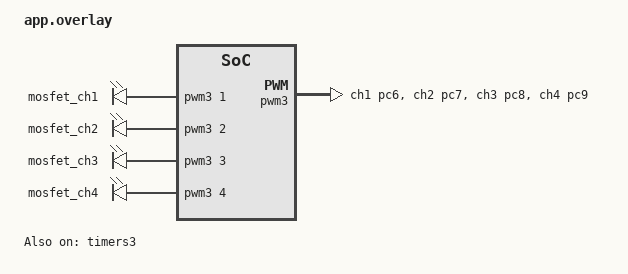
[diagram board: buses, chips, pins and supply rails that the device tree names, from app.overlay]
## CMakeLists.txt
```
cmake_minimum_required(VERSION 3.20.0)
set(CMAKE_EXPORT_COMPILE_COMMANDS ON)
find_package(Zephyr REQUIRED HINTS $ENV{ZEPHYR_BASE})
project(headlight_control)

target_sources(app PRIVATE 
    src/main.cpp
    src/MosfetController.cpp
    src/AppTasks.cpp
    )
```

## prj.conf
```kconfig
# Donanım Sürücüleri
CONFIG_GPIO=y
CONFIG_PWM=y

# Konsol ve Loglama
CONFIG_SERIAL=y
CONFIG_UART_CONSOLE=y
CONFIG_CONSOLE=y
CONFIG_PRINTK=y
CONFIG_LOG=y

# C++ Desteği
CONFIG_CPP=y
CONFIG_STD_CPP17=y

# Bellek Yönetimi
CONFIG_MAIN_STACK_SIZE=2048
```

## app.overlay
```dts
#include <zephyr/dt-bindings/pwm/pwm.h>

/ {
    pwm_mosfets {
        compatible = "pwm-leds";
        mosfet_ch1: mosfet_ch_1 {
            pwms = <&pwm3 1 PWM_USEC(500) PWM_POLARITY_NORMAL>;
        };
        mosfet_ch2: mosfet_ch_2 {
            pwms = <&pwm3 2 PWM_USEC(500) PWM_POLARITY_NORMAL>;
        };
        mosfet_ch3: mosfet_ch_3 {
            pwms = <&pwm3 3 PWM_USEC(500) PWM_POLARITY_NORMAL>;
        };
        mosfet_ch4: mosfet_ch_4 {
            pwms = <&pwm3 4 PWM_USEC(500) PWM_POLARITY_NORMAL>;
        };
    };
};

/* 1. TIM3 Ana Zamanlayıcıyı Etkinleştir */
&timers3 {
    status = "okay";
};

/* 2. TIM3 PWM Alt Birimini ve Pin Çıkışlarını Etkinleştir */
&pwm3 {
    status = "okay";
    pinctrl-0 = <&tim3_ch1_pc6 &tim3_ch2_pc7 &tim3_ch3_pc8 &tim3_ch4_pc9>;
    pinctrl-names = "default";
};
```

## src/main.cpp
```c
#include <zephyr/kernel.h>
#include <zephyr/sys/printk.h>

#include "hpps/AppTasks.hpp"
#include "hpps/MosfetController.hpp"

static MosfetController mosfets;
static SelfTestTask     testTask(mosfets);
static MosfetWorkerTask workerTask(mosfets);
static SafetyTask       safetyTask(mosfets);

int main(void)
{
    printk("\n==========================================\n");
    printk("   STM32H563ZI RTOS Mosfet Supervisor     \n");
    printk("==========================================\n");

    // 1. ADIM: Donanımı hazırla
    if (mosfets.init() < 0 || safetyTask.init() < 0) {
        printk("Donanim ilklendirme basarisiz!\n");
        return -1;
    }

    // 2. ADIM (1. Sıra): Test thread'ini başlat ve BİTMESİNİ BEKLE
    printk("[MAIN] 1. Asama: Donanim testi baslatiliyor...\n");
    testTask.start();
    testTask.wait(); // k_thread_join: Test tamamlanana kadar kod burada durur

    // 3. ADIM (2. Sıra): Test bitti; Emniyet ve Ana Çalışma Thread'lerini başlat
    printk("[MAIN] 2. Asama: Normal operasyon thread'leri devreye aliniyor...\n");
    safetyTask.start();
    workerTask.start();

    printk("[MAIN] Tum thread'ler sirayla calistirildi. Main gorevini tamamladi.\n");

    // Main thread'in işi bitti; kendini sonsuz uykuya alabilir veya durum raporlayabilir
    while (1) {
        k_sleep(K_FOREVER);
    }

    return 0;
}
```

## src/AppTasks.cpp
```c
#include "hpps/AppTasks.hpp"
#include <zephyr/drivers/gpio.h>
#include <zephyr/sys/printk.h>

#define STACK_SIZE 1024
#define PRIORITY_NORMAL 7
#define PRIORITY_HIGH 5

K_THREAD_STACK_DEFINE(test_stack, STACK_SIZE);
K_THREAD_STACK_DEFINE(worker_stack, STACK_SIZE);
K_THREAD_STACK_DEFINE(safety_stack, STACK_SIZE);

//----------------------------------------------------
// SELF_TEST_TASK
//----------------------------------------------------

SelfTestTask::SelfTestTask(MosfetController &ctrl)
    : mosfets(ctrl), tid(nullptr) {}

void SelfTestTask::threadEntry(void *p1, void *p2, void *p3) {
  auto *self = static_cast<SelfTestTask *>(p1);
  self->run();
}

int SelfTestTask::start() {
  tid = k_thread_create(&thread_data, test_stack,
                        K_THREAD_STACK_SIZEOF(test_stack), threadEntry, this,
                        nullptr, nullptr, PRIORITY_NORMAL, 0, K_NO_WAIT);
  return (tid != nullptr) ? 0 : -EFAULT;
}

void SelfTestTask::wait() {
  if (tid) {
    k_thread_join(tid, K_FOREVER);
  }
}

void SelfTestTask::run() {
  printk("[SelfTestTask] Calisiyor: 4 Kanal Sirayla Test Ediliyor...\n");

  MosfetChannel channels[] = {MosfetChannel::CH1, MosfetChannel::CH2,
                              MosfetChannel::CH3, MosfetChannel::CH4};

  for (int i = 0; i < 4; ++i) {
    printk(" -> Test ediliyor: Kanal %d\n", i + 1);
    mosfets.setDuty(channels[i], 100);
    k_msleep(1000);
    mosfets.setDuty(channels[i], 0);
    k_msleep(1000);
  }

  printk("[SelfTestTask] Test basariyla tamamlandi. Thread kapaniyor.\n");
}

//----------------------------------------------------
// MOSFET_WORKER_TASK
//----------------------------------------------------

MosfetWorkerTask::MosfetWorkerTask(MosfetController &ctrl)
    : mosfets(ctrl), tid(nullptr), is_running(true) {}

void MosfetWorkerTask::threadEntry(void *p1, void *p2, void *p3) {
  auto *self = static_cast<MosfetWorkerTask *>(p1);
  self->run();
}

int MosfetWorkerTask::start() {
  tid = k_thread_create(&thread_data, worker_stack,
                        K_THREAD_STACK_SIZEOF(worker_stack), threadEntry, this,
                        nullptr, nullptr, PRIORITY_NORMAL, 0, K_NO_WAIT);
  return (tid != nullptr) ? 0 : -EFAULT;
}

void MosfetWorkerTask::run() {
  printk("[MosfetWorkerTask] Ana calisma thread'i devrede!\n");

  uint8_t duty = 0;
  while (1) {
    if (is_running) {
      mosfets.setDuty(MosfetChannel::CH1, duty);
      mosfets.setDuty(MosfetChannel::CH2, 100 - duty);

      duty = (duty + 10) % 110;
    }

    k_msleep(200);
  }
}

//----------------------------------------------------
// SAFETY_TASK
//----------------------------------------------------

#define USER_BUTTON_NODE DT_ALIAS(sw0)
static const struct gpio_dt_spec button =
    GPIO_DT_SPEC_GET(USER_BUTTON_NODE, gpios);
static SafetyTask *s_safety_instance = nullptr;

SafetyTask::SafetyTask(MosfetController &ctrl) : mosfets(ctrl), tid(nullptr) {
  k_sem_init(&trigger_sem, 0, 1);
}

void SafetyTask::isrCallback(const struct device *port,
                             struct gpio_callback *cb, uint32_t pins) {
  if (s_safety_instance) {
    k_sem_give(&s_safety_instance->trigger_sem);
  }
}

void SafetyTask::threadEntry(void *p1, void *p2, void *p3) {
  auto *self = static_cast<SafetyTask *>(p1);
  self->run();
}

int SafetyTask::init() {
  s_safety_instance = this;

  if (!gpio_is_ready_dt(&button))
    return -ENODEV;

  gpio_pin_configure_dt(&button, GPIO_INPUT);
  gpio_pin_interrupt_configure_dt(&button, GPIO_INT_EDGE_TO_ACTIVE);
  gpio_init_callback(&btn_cb_data, isrCallback, BIT(button.pin));
  return gpio_add_callback(button.port, &btn_cb_data);
}

int SafetyTask::start() {
  tid = k_thread_create(&thread_data, safety_stack,
                        K_THREAD_STACK_SIZEOF(safety_stack), threadEntry, this,
                        nullptr, nullptr, PRIORITY_HIGH, 0, K_NO_WAIT);
  return (tid != nullptr) ? 0 : -EFAULT;
}

void SafetyTask::run() {
  printk("[SafetyTask] Acil durum gozlemcisi hazir.\n");

  while (1) {
    // Butona basılana kadar bu thread UYUR (Sıfır CPU tüketimi)
    k_sem_take(&trigger_sem, K_FOREVER);

    printk("[SafetyTask] ACIL DURDURMA TETIKLENDI! Tum cikislar kesiliyor!\n");
    mosfets.allOff();
  }
}
```

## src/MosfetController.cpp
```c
#include "hpps/MosfetController.hpp"
#include <zephyr/sys/printk.h>

MosfetController::MosfetController():
    ch1_spec(PWM_DT_SPEC_GET(DT_NODELABEL(mosfet_ch1))),
    ch2_spec(PWM_DT_SPEC_GET(DT_NODELABEL(mosfet_ch2))),
    ch3_spec(PWM_DT_SPEC_GET(DT_NODELABEL(mosfet_ch3))),
    ch4_spec(PWM_DT_SPEC_GET(DT_NODELABEL(mosfet_ch4)))
{
    k_mutex_init(&lock);
}

int MosfetController::init()
{
    if (!pwm_is_ready_dt(&ch1_spec) || !pwm_is_ready_dt(&ch2_spec) ||
        !pwm_is_ready_dt(&ch3_spec) || !pwm_is_ready_dt(&ch4_spec)) 
    {
        printk("MosfetController: Someone PWM is not ready!!\n");
        return -ENODEV;
    }

    allOff();
    printk("MosfetController: HW PWM is ready.\n");
    return 0;
}

const struct pwm_dt_spec* MosfetController::getSpec(MosfetChannel ch) const
{
    switch(ch){
        case MosfetChannel::CH1: return &ch1_spec;
        case MosfetChannel::CH2: return &ch2_spec;
        case MosfetChannel::CH3: return &ch3_spec;
        case MosfetChannel::CH4: return &ch4_spec;
        default:                 return nullptr;
    }
}

int MosfetController::setDuty(MosfetChannel ch, uint8_t percentage)
{    
    const auto *spec = getSpec(ch);
    if(!spec) return -EINVAL;

    if(percentage > 100) percentage = 100;

    k_mutex_lock(&lock, K_FOREVER);

    uint64_t pulse_ns = (uint64_t)spec->period * percentage / 100;
    int ret = pwm_set_pulse_dt(spec, pulse_ns);

    k_mutex_unlock(&lock);
    return ret;
}

void MosfetController::allOff()
{
    k_mutex_lock(&lock, K_FOREVER);

    pwm_set_pulse_dt(&ch1_spec, 0);
    pwm_set_pulse_dt(&ch2_spec, 0);
    pwm_set_pulse_dt(&ch3_spec, 0);
    pwm_set_pulse_dt(&ch4_spec, 0);

    k_mutex_unlock(&lock);
}
```
